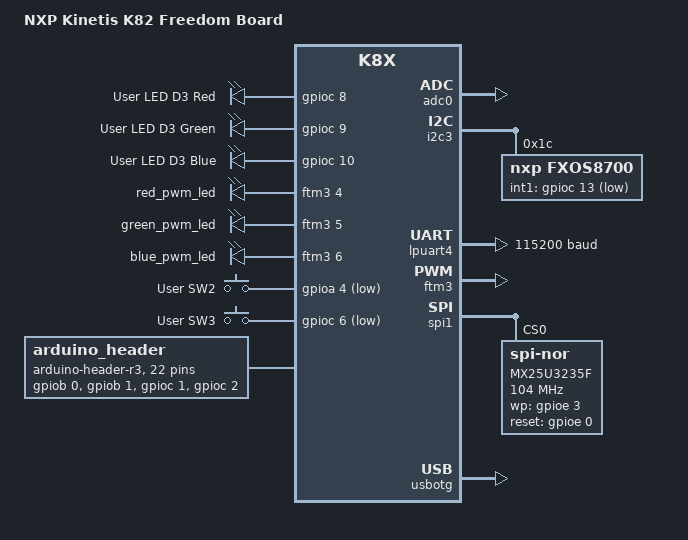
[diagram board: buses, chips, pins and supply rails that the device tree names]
/*
 * Copyright (c) 2019 SEAL AG
 *
 * SPDX-License-Identifier: Apache-2.0
 */

/dts-v1/;

#include <mem.h>
#include <nxp/nxp_k82fn256vxx15.dtsi>
#include <dt-bindings/pwm/pwm.h>

/ {
	model = "NXP Kinetis K82 Freedom Board";
	compatible = "nxp,mk82f25615", "nxp,k82f", "nxp,k8x";

	aliases {
		led0 = &red_led;
		led1 = &green_led;
		led2 = &blue_led;
		pwm-led0 = &red_pwm_led;
		pwm-led1 = &green_pwm_led;
		pwm-led2 = &blue_pwm_led;
		sw0 = &user_button_0;
		sw1 = &user_button_1;
	};

	chosen {
		zephyr,sram = &sram0;
		zephyr,flash = &flash0;
		zephyr,code-partition = &slot0_partition;
		zephyr,console = &lpuart4;
		zephyr,shell-uart = &lpuart4;
		zephyr,uart-pipe = &lpuart4;
	};

	leds {
		compatible = "gpio-leds";
		red_led: led_0 {
			gpios = <&gpioc 8 0>;
			label = "User LED D3 Red";
		};
		green_led: led_1 {
			gpios = <&gpioc 9 0>;
			label = "User LED D3 Green";
		};
		blue_led: led_2 {
			gpios = <&gpioc 10 0>;
			label = "User LED D3 Blue";
		};
	};

	pwmleds {
		compatible = "pwm-leds";

		red_pwm_led: red_pwm_led {
			pwms = <&ftm3 4 15625000 PWM_POLARITY_INVERTED>;
		};
		green_pwm_led: green_pwm_led {
			pwms = <&ftm3 5 15625000 PWM_POLARITY_INVERTED>;
		};
		blue_pwm_led: blue_pwm_led {
			pwms = <&ftm3 6 15625000 PWM_POLARITY_INVERTED>;
		};
	};

	gpio_keys {
		compatible = "gpio-keys";
		user_button_0: button_0 {
			label = "User SW2";
			gpios = <&gpioa 4 GPIO_ACTIVE_LOW>;
		};
		user_button_1: button_1 {
			label = "User SW3";
			gpios = <&gpioc 6 GPIO_ACTIVE_LOW>;
		};
	};

	arduino_header: connector {
		compatible = "arduino-header-r3";
		#gpio-cells = <2>;
		gpio-map-mask = <0xffffffff 0xffffffc0>;
		gpio-map-pass-thru = <0 0x3f>;
		gpio-map = <0 0 &gpiob 0 0>,	/* A0 */
			   <1 0 &gpiob 1 0>,	/* A1 */
			   <2 0 &gpioc 1 0>,	/* A2 */
			   <3 0 &gpioc 2 0>,	/* A3 */
			   <4 0 &gpiob 3 0>,	/* A4 */
			   <5 0 &gpiob 2 0>,	/* A5 */
			   <6 0 &gpiob 16 0>,	/* D0 */
			   <7 0 &gpiob 17 0>,	/* D1 */
			   <8 0 &gpioc 12 0>,	/* D2 */
			   <9 0 &gpiod 0 0>,	/* D3 */
			   <10 0 &gpioc 11 0>,	/* D4 */
			   <11 0 &gpioc 10 0>,	/* D5 */
			   <12 0 &gpioc 8 0>,	/* D6 */
			   <13 0 &gpioc 9 0>,	/* D7 */
			   <14 0 &gpioc 3 0>,	/* D8 */
			   <15 0 &gpioc 5 0>,	/* D9 */
			   <16 0 &gpiod 4 0>,	/* D10 */
			   <17 0 &gpiod 2 0>,	/* D11 */
			   <18 0 &gpiod 3 0>,	/* D12 */
			   <19 0 &gpiod 1 0>,	/* D13 */
			   <20 0 &gpioa 1 0>,	/* D14 */
			   <21 0 &gpioa 2 0>;	/* D15 */
	};
};

&adc0 {
	status = "okay";
};

&gpioa {
	status = "okay";
};

&gpiob {
	status = "okay";
};

&gpioc {
	status = "okay";
};

&gpiod {
	status = "okay";
};

&gpioe {
	status = "okay";
};

&flash0 {
	/*
	 * For more information, see:
	 * https://docs.zephyrproject.org/latest/guides/dts/legacy-macros.html#legacy-flash-partitions
	 */
	partitions {
		compatible = "fixed-partitions";
		#address-cells = <1>;
		#size-cells = <1>;

		boot_partition: partition@0 {
			label = "mcuboot";
			reg = <0x0 DT_SIZE_K(48)>;
		};
		storage_partition: partition@c000 {
			label = "storage";
			reg = <0xc000 DT_SIZE_K(32)>;
		};
		slot0_partition: partition@14000 {
			label = "image-0";
			reg = <0x14000 DT_SIZE_K(80)>;
		};
		slot1_partition: partition@28000 {
			label = "image-1";
			reg = <0x28000 DT_SIZE_K(80)>;
		};
		scratch_partition: partition@3c000 {
			label = "image-scratch";
			reg = <0x3c000 DT_SIZE_K(16)>;
		};
	};
};

&i2c3 {
	status = "okay";

	fxos8700@1c {
		compatible = "nxp,fxos8700";
		reg = <0x1c>;
		label = "FXOS8700";
		int1-gpios = <&gpioc 13 GPIO_ACTIVE_LOW>;
	};
};

&lpuart4 {
	status = "okay";
	current-speed = <115200>;
};

&ftm3 {
	status = "okay";
	compatible = "nxp,kinetis-ftm-pwm";
	#pwm-cells = <3>;
};

&spi1 {
	status = "okay";

	mx25u32: mx25u3235f@0 {
		compatible = "jedec,spi-nor";
		label = "MX25U3235F";
		reg = <0>;
		spi-max-frequency = <104000000>;
		wp-gpios = <&gpioe 3 0>;
		reset-gpios = <&gpioe 0 0>;
		size = <0x2000000>;
		has-be32k;
		jedec-id = [c2 25 36];
	};
};

&usbotg {
	status = "okay";
};
